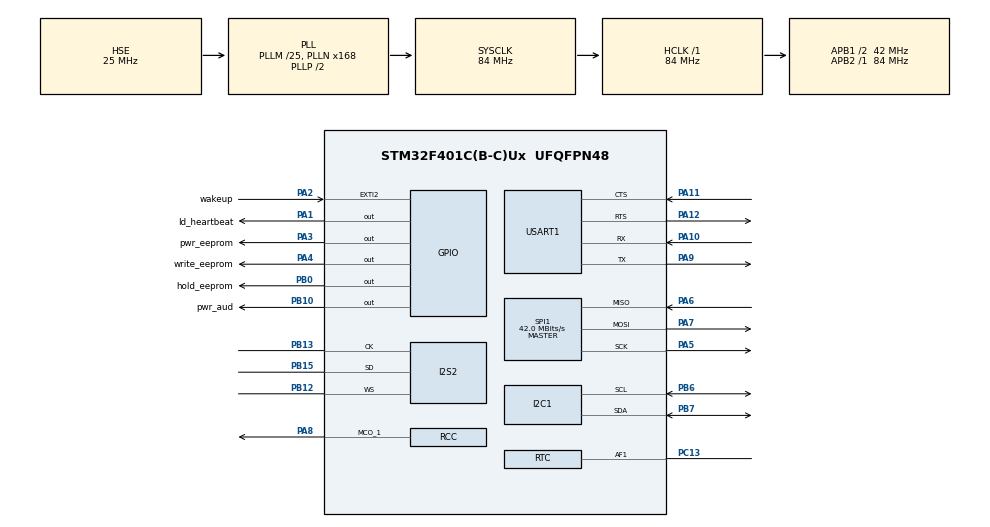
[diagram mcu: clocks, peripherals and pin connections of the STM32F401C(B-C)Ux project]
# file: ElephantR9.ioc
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Dma.Request0=SPI2_TX
Dma.SPI2_TX.0.Direction=DMA_MEMORY_TO_PERIPH
Dma.SPI2_TX.0.FIFOMode=DMA_FIFOMODE_DISABLE
Dma.SPI2_TX.0.Instance=DMA1_Stream4
Dma.SPI2_TX.0.MemDataAlignment=DMA_MDATAALIGN_HALFWORD
Dma.SPI2_TX.0.MemInc=DMA_MINC_ENABLE
Dma.SPI2_TX.0.Mode=DMA_NORMAL
Dma.SPI2_TX.0.PeriphDataAlignment=DMA_PDATAALIGN_HALFWORD
Dma.SPI2_TX.0.PeriphInc=DMA_PINC_DISABLE
Dma.SPI2_TX.0.Priority=DMA_PRIORITY_LOW
I2S2.AudioFreq=I2S_AUDIOFREQ_96K
I2S2.DataFormat=I2S_DATAFORMAT_32B
I2S2.ErrorAudioFreq=-2.34 %
I2S2.FullDuplexMode=I2S_FULLDUPLEXMODE_DISABLE
I2S2.Instance=SPI$Index
I2S2.RealAudioFreq=93.75 KHz
I2S2.Standard=I2S_STANDARD_MSB
I2S2.VirtualMode=I2S_MODE_MASTER
Mcu.Family=STM32F4
Mcu.Name=STM32F401C(B-C)Ux
Mcu.Package=UFQFPN48
NVIC.DMA1_Stream4_IRQn=true\:0\:0\:false\:false\:true\:false\:true\:true
NVIC.EXTI2_IRQn=true\:0\:0\:false\:false\:true\:true\:true\:true
NVIC.PriorityGroup=NVIC_PRIORITYGROUP_4
PA0-WKUP.GPIO_Label=sw_tilt
PA0-WKUP.Mode=SYS_WakeUp0
PA0-WKUP.Signal=SYS_WKUP
PA1.GPIO_Label=ld_heartbeat
PA1.Signal=GPIO_Output
PA10.Mode=Asynchronous
PA10.Signal=USART1_RX
PA11.Mode=CTS_RTS
PA11.Signal=USART1_CTS
PA12.Mode=CTS_RTS
PA12.Signal=USART1_RTS
PA13.Mode=JTAG_5_pins
PA13.Signal=SYS_JTMS-SWDIO
PA14.Mode=JTAG_5_pins
PA14.Signal=SYS_JTCK-SWCLK
PA15.Mode=JTAG_5_pins
PA15.Signal=SYS_JTDI
PA2.GPIO_Label=wakeup
PA2.GPIO_ModeDefaultEXTI=GPIO_MODE_IT_FALLING
PA2.GPIO_PuPd=GPIO_PULLUP
PA2.Signal=GPXTI2
PA3.GPIO_Label=pwr_eeprom
PA3.Signal=GPIO_Output
PA4.GPIO_Label=write_eeprom
PA4.Signal=GPIO_Output
PA5.Mode=Full_Duplex_Master
PA5.Signal=SPI1_SCK
PA6.Mode=Full_Duplex_Master
PA6.Signal=SPI1_MISO
PA7.Mode=Full_Duplex_Master
PA7.Signal=SPI1_MOSI
PA8.Mode=Clock-out-1
PA8.Signal=RCC_MCO_1
PA9.Mode=Asynchronous
PA9.Signal=USART1_TX
PB0.GPIO_Label=hold_eeprom
PB0.Signal=GPIO_Output
PB10.GPIO_Label=pwr_aud
PB10.Signal=GPIO_Output
PB12.Mode=Half_Duplex_Master
PB12.Signal=I2S2_WS
PB13.Mode=Half_Duplex_Master
PB13.Signal=I2S2_CK
PB15.Mode=Half_Duplex_Master
PB15.Signal=I2S2_SD
PB3.Mode=JTAG_5_pins
PB3.Signal=SYS_JTDO-SWO
PB4.Mode=JTAG_5_pins
PB4.Signal=SYS_JTRST
PB6.Mode=I2C
PB6.Signal=I2C1_SCL
PB7.Mode=I2C
PB7.Signal=I2C1_SDA
PC13-ANTI_TAMP.Mode=AlarmA_RoutedAF
PC13-ANTI_TAMP.Signal=RTC_AF1
PC14-OSC32_IN.Mode=LSE-External-Oscillator
PC14-OSC32_IN.Signal=RCC_OSC32_IN
PC15-OSC32_OUT.Mode=LSE-External-Oscillator
PC15-OSC32_OUT.Signal=RCC_OSC32_OUT
PH0\ -\ OSC_IN.Mode=HSE-External-Oscillator
PH0\ -\ OSC_IN.Signal=RCC_OSC_IN
PH1\ -\ OSC_OUT.Mode=HSE-External-Oscillator
PH1\ -\ OSC_OUT.Signal=RCC_OSC_OUT
ProjectManager.HeapSize=0x200
ProjectManager.StackSize=0x400
ProjectManager.TargetToolchain=Makefile
RCC.48MHZClocksFreq_Value=42000000
RCC.AHBFreq_Value=84000000
RCC.APB1CLKDivider=RCC_HCLK_DIV2
RCC.APB1Freq_Value=42000000
RCC.APB1TimFreq_Value=84000000
RCC.APB2Freq_Value=84000000
RCC.APB2TimFreq_Value=84000000
RCC.CortexFreq_Value=84000000
RCC.HCLKFreq_Value=84000000
RCC.HSE_VALUE=25000000
RCC.HSI_VALUE=16000000
RCC.PLLI2SR=4
RCC.PLLM=25
RCC.PLLN=168
RCC.PLLSourceVirtual=RCC_PLLSOURCE_HSE
RCC.SYSCLKFreq_VALUE=84000000
RCC.SYSCLKSource=RCC_SYSCLKSOURCE_PLLCLK
RCC.VCOOutputFreq_Value=168000000
RTC.Alarm=RTC_ALARM_A
RTC.AlarmMaskDateWeekDay=RTC_ALARMMASK_DATEWEEKDAY
RTC.AlarmMaskHours=RTC_ALARMMASK_HOURS
RTC.AlarmMaskMinutes=RTC_ALARMMASK_MINUTES
RTC.Format=RTC_FORMAT_BCD
RTC.OutPutPolarity=RTC_OUTPUT_POLARITY_LOW
RTC.OutPutType=RTC_OUTPUT_TYPE_PUSHPULL
RTC.Seconds_A=10
SPI1.BaudRatePrescaler=SPI_BAUDRATEPRESCALER_2
SPI1.CalculateBaudRate=42.0 MBits/s
SPI1.Direction=SPI_DIRECTION_2LINES
SPI1.Mode=SPI_MODE_MASTER
SPI1.VirtualNSS=VM_NSSHARD
SPI1.VirtualType=VM_MASTER
USART1.VirtualMode=VM_ASYNC
VP_RTC_VS_RTC_Activate.Mode=RTC_Enabled
VP_RTC_VS_RTC_Calendar.Mode=RTC_Calendar
board=custom

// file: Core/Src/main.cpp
/* USER CODE BEGIN Header */
/**
  ******************************************************************************
  * @file           : main.c
  * @brief          : Main program body
  ******************************************************************************
  * @attention
  *
  * Copyright (c) 2024 STMicroelectronics.
  * All rights reserved.
  *
  * This software is licensed under terms that can be found in the LICENSE file
  * in the root directory of this software component.
  * If no LICENSE file comes with this software, it is provided AS-IS.
  *
  ******************************************************************************
  */
/* USER CODE END Header */

#include "main.h"

/* USER CODE BEGIN Includes */
#include "audio_test.h"
#include "sleep_test.h"
#include "reset_test.h"
/* USER CODE END Includes */

/* USER CODE BEGIN PD */
const int n_interrupts = 2;

const int spi_txcplt_irqn = 0;
const int alarm_wakeup_irqn = 1;
const int gpio_wakeup_irqn = 1;
/* USER CODE END PD */

I2C_HandleTypeDef hi2c1;

I2S_HandleTypeDef hi2s2;
DMA_HandleTypeDef hdma_spi2_tx;

RTC_HandleTypeDef hrtc;

SPI_HandleTypeDef hspi1;

UART_HandleTypeDef huart1;

/* USER CODE BEGIN PV */

i2sObject i2sObj(hi2s2);
rtcObject rtcObj(hrtc);
gpioObject gpioObj(GPIOA);

InterruptHandler* Handlers[n_interrupts];

resetCause latestResetCause;

/* USER CODE END PV */

void SystemClock_Config(void);
static void MX_GPIO_Init(void);
static void MX_DMA_Init(void);
static void MX_I2C1_Init(void);
static void MX_I2S2_Init(void);
static void MX_SPI1_Init(void);
static void MX_USART1_UART_Init(void);
static void MX_RTC_Init(void);
void register_handler(int irq_n, InterruptHandler* handler);

int main(void)
{

  /* MCU Configuration--------------------------------------------------------*/

  /* Reset of all peripherals, Initializes the Flash interface and the Systick. */
  HAL_Init();

  /* Configure the system clock */
  SystemClock_Config();

  /* Initialize all configured peripherals */
  MX_GPIO_Init();
  MX_DMA_Init();
  MX_I2C1_Init();
  MX_I2S2_Init();
  MX_SPI1_Init();
  MX_USART1_UART_Init();
  MX_RTC_Init();
  /* USER CODE BEGIN 2 */
  //register_handler(spi_txcplt_irqn, &i2sObj);
  //audio_test::runTest(hi2c1, hdma_spi2_tx, i2sObj);
  //sleep_test::runTest(hrtc);
  //reset_test::runTest(rtcObj,gpioObj);
  /* USER CODE END 2 */

  /* Infinite loop */
  /* USER CODE BEGIN WHILE */
  while (1)
  {
    gpioObj.setPin(8);
    gpioObj.resetPin(8);
    /* USER CODE END WHILE */
  }
}

void SystemClock_Config(void)
{
  RCC_OscInitTypeDef RCC_OscInitStruct = {0};
  RCC_ClkInitTypeDef RCC_ClkInitStruct = {0};

  /** Configure the main internal regulator output voltage
  */
  __HAL_RCC_PWR_CLK_ENABLE();
  __HAL_PWR_VOLTAGESCALING_CONFIG(PWR_REGULATOR_VOLTAGE_SCALE2);

  /** Initializes the RCC Oscillators according to the specified parameters
  * in the RCC_OscInitTypeDef structure.
  */
  RCC_OscInitStruct.OscillatorType = RCC_OSCILLATORTYPE_HSI|RCC_OSCILLATORTYPE_LSI
                              |RCC_OSCILLATORTYPE_HSE;
  RCC_OscInitStruct.HSEState = RCC_HSE_ON;
  RCC_OscInitStruct.HSIState = RCC_HSI_ON;
  RCC_OscInitStruct.HSICalibrationValue = RCC_HSICALIBRATION_DEFAULT;
  RCC_OscInitStruct.LSIState = RCC_LSI_ON;
  RCC_OscInitStruct.PLL.PLLState = RCC_PLL_ON;
  RCC_OscInitStruct.PLL.PLLSource = RCC_PLLSOURCE_HSE;
  RCC_OscInitStruct.PLL.PLLM = 25;
  RCC_OscInitStruct.PLL.PLLN = 168;
  RCC_OscInitStruct.PLL.PLLP = RCC_PLLP_DIV2;
  RCC_OscInitStruct.PLL.PLLQ = 4;
  if (HAL_RCC_OscConfig(&RCC_OscInitStruct) != HAL_OK)
  {
    Error_Handler();
  }

  /** Initializes the CPU, AHB and APB buses clocks
  */
  RCC_ClkInitStruct.ClockType = RCC_CLOCKTYPE_HCLK|RCC_CLOCKTYPE_SYSCLK
                              |RCC_CLOCKTYPE_PCLK1|RCC_CLOCKTYPE_PCLK2;
  RCC_ClkInitStruct.SYSCLKSource = RCC_SYSCLKSOURCE_PLLCLK;
  RCC_ClkInitStruct.AHBCLKDivider = RCC_SYSCLK_DIV1;
  RCC_ClkInitStruct.APB1CLKDivider = RCC_HCLK_DIV2;
  RCC_ClkInitStruct.APB2CLKDivider = RCC_HCLK_DIV1;

  if (HAL_RCC_ClockConfig(&RCC_ClkInitStruct, FLASH_LATENCY_2) != HAL_OK)
  {
    Error_Handler();
  }
  HAL_RCC_MCOConfig(RCC_MCO1, RCC_MCO1SOURCE_HSI, RCC_MCODIV_1);
}

static void MX_I2C1_Init(void)
{

  hi2c1.Instance = I2C1;
  hi2c1.Init.ClockSpeed = 100000;
  hi2c1.Init.DutyCycle = I2C_DUTYCYCLE_2;
  hi2c1.Init.OwnAddress1 = 0;
  hi2c1.Init.AddressingMode = I2C_ADDRESSINGMODE_7BIT;
  hi2c1.Init.DualAddressMode = I2C_DUALADDRESS_DISABLE;
  hi2c1.Init.OwnAddress2 = 0;
  hi2c1.Init.GeneralCallMode = I2C_GENERALCALL_DISABLE;
  hi2c1.Init.NoStretchMode = I2C_NOSTRETCH_DISABLE;
  if (HAL_I2C_Init(&hi2c1) != HAL_OK)
  {
    Error_Handler();
  }

}

static void MX_I2S2_Init(void)
{

  hi2s2.Instance = SPI2;
  hi2s2.Init.Mode = I2S_MODE_MASTER_TX;
  hi2s2.Init.Standard = I2S_STANDARD_MSB;
  hi2s2.Init.DataFormat = I2S_DATAFORMAT_32B;
  hi2s2.Init.MCLKOutput = I2S_MCLKOUTPUT_DISABLE;
  hi2s2.Init.AudioFreq = I2S_AUDIOFREQ_96K;
  hi2s2.Init.CPOL = I2S_CPOL_LOW;
  hi2s2.Init.ClockSource = I2S_CLOCK_PLL;
  hi2s2.Init.FullDuplexMode = I2S_FULLDUPLEXMODE_DISABLE;
  if (HAL_I2S_Init(&hi2s2) != HAL_OK)
  {
    Error_Handler();
  }

}

static void MX_RTC_Init(void)
{

  /* USER CODE BEGIN RTC_Init 0 */
  uint32_t backupMagic;
  /* USER CODE END RTC_Init 0 */

  RTC_TimeTypeDef sTime = {0};
  RTC_DateTypeDef sDate = {0};
  RTC_AlarmTypeDef sAlarm = {0};

  /** Initialize RTC Only
  */
  hrtc.Instance = RTC;
  hrtc.Init.HourFormat = RTC_HOURFORMAT_24;
  hrtc.Init.AsynchPrediv = 127;
  hrtc.Init.SynchPrediv = 255;
  hrtc.Init.OutPut = RTC_OUTPUT_ALARMA;
  hrtc.Init.OutPutPolarity = RTC_OUTPUT_POLARITY_LOW;
  hrtc.Init.OutPutType = RTC_OUTPUT_TYPE_PUSHPULL;
  if (HAL_RTC_Init(&hrtc) != HAL_OK)
  {
    Error_Handler();
  }

  /* USER CODE BEGIN Check_RTC_BKUP */

    // Retrieve the RTC magic number stored in the last RTC backup register.
  // RTC magic number: corresponds to UNIX seconds timestamp.
  backupMagic = HAL_RTCEx_BKUPRead(&hrtc, RTC_BKP_DR10);

  // If the backup magic number is the same as the predefined magic number,
  // then don't do anything to the RTC time or alarms (End RTC Initialization).
  if (backupMagic == RTC_MAGIC) {
    return;
  }

  /* USER CODE END Check_RTC_BKUP */

  /** Initialize RTC and set the Time and Date
  */
  sTime.Hours = RTC_HOUR;
  sTime.Minutes = RTC_MINUTE;
  sTime.Seconds = RTC_SECOND;
  sTime.DayLightSaving = RTC_DAYLIGHTSAVING_NONE;
  sTime.StoreOperation = RTC_STOREOPERATION_RESET;
  if (HAL_RTC_SetTime(&hrtc, &sTime, RTC_FORMAT_BCD) != HAL_OK)
  {
    Error_Handler();
  }
  sDate.WeekDay = RTC_WEEKDAY;
  sDate.Month = RTC_MONTH;
  sDate.Date = RTC_DAY;
  sDate.Year = RTC_YEAR;

  if (HAL_RTC_SetDate(&hrtc, &sDate, RTC_FORMAT_BCD) != HAL_OK)
  {
    Error_Handler();
  }

  /** Enable the Alarm A
  */
  sAlarm.AlarmTime.Hours = 0x0;
  sAlarm.AlarmTime.Minutes = 0x0;
  sAlarm.AlarmTime.Seconds = 0x10;
  sAlarm.AlarmTime.SubSeconds = 0x0;
  sAlarm.AlarmTime.DayLightSaving = RTC_DAYLIGHTSAVING_NONE;
  sAlarm.AlarmTime.StoreOperation = RTC_STOREOPERATION_RESET;
  sAlarm.AlarmMask = RTC_ALARMMASK_DATEWEEKDAY|RTC_ALARMMASK_HOURS
                              |RTC_ALARMMASK_MINUTES;
  sAlarm.AlarmSubSecondMask = RTC_ALARMSUBSECONDMASK_ALL;
  sAlarm.AlarmDateWeekDaySel = RTC_ALARMDATEWEEKDAYSEL_DATE;
  sAlarm.AlarmDateWeekDay = 0x1;
  sAlarm.Alarm = RTC_ALARM_A;
  if (HAL_RTC_SetAlarm_IT(&hrtc, &sAlarm, RTC_FORMAT_BCD) != HAL_OK)
  {
    Error_Handler();
  }
  /* USER CODE BEGIN RTC_Init 2 */

  //write the predefined magic number to the backup register and
  // set the RTC time to the predefined time values.
  HAL_PWR_EnableBkUpAccess();
  HAL_Delay(10);
  HAL_RTCEx_BKUPWrite(&hrtc, RTC_BKP_DR10, RTC_MAGIC);
  HAL_PWR_DisableBkUpAccess();

  /* USER CODE END RTC_Init 2 */

}

static void MX_SPI1_Init(void)
{

  /* SPI1 parameter configuration*/
  hspi1.Instance = SPI1;
  hspi1.Init.Mode = SPI_MODE_MASTER;
  hspi1.Init.Direction = SPI_DIRECTION_2LINES;
  hspi1.Init.DataSize = SPI_DATASIZE_8BIT;
  hspi1.Init.CLKPolarity = SPI_POLARITY_LOW;
  hspi1.Init.CLKPhase = SPI_PHASE_1EDGE;
  hspi1.Init.NSS = SPI_NSS_SOFT;
  hspi1.Init.BaudRatePrescaler = SPI_BAUDRATEPRESCALER_2;
  hspi1.Init.FirstBit = SPI_FIRSTBIT_MSB;
  hspi1.Init.TIMode = SPI_TIMODE_DISABLE;
  hspi1.Init.CRCCalculation = SPI_CRCCALCULATION_DISABLE;
  hspi1.Init.CRCPolynomial = 10;
  if (HAL_SPI_Init(&hspi1) != HAL_OK)
  {
    Error_Handler();
  }

}

static void MX_USART1_UART_Init(void)
{

  huart1.Instance = USART1;
  huart1.Init.BaudRate = 115200;
  huart1.Init.WordLength = UART_WORDLENGTH_8B;
  huart1.Init.StopBits = UART_STOPBITS_1;
  huart1.Init.Parity = UART_PARITY_NONE;
  huart1.Init.Mode = UART_MODE_TX_RX;
  huart1.Init.HwFlowCtl = UART_HWCONTROL_RTS_CTS;
  huart1.Init.OverSampling = UART_OVERSAMPLING_16;
  if (HAL_UART_Init(&huart1) != HAL_OK)
  {
    Error_Handler();
  }

}

static void MX_DMA_Init(void)
{

  /* DMA controller clock enable */
  __HAL_RCC_DMA1_CLK_ENABLE();

  /* DMA interrupt init */
  /* DMA1_Stream4_IRQn interrupt configuration */
  HAL_NVIC_SetPriority(DMA1_Stream4_IRQn, 0, 0);
  HAL_NVIC_EnableIRQ(DMA1_Stream4_IRQn);

}

static void MX_GPIO_Init(void)
{
  GPIO_InitTypeDef GPIO_InitStruct = {0};

  /* GPIO Ports Clock Enable */
  __HAL_RCC_GPIOC_CLK_ENABLE();
  __HAL_RCC_GPIOH_CLK_ENABLE();
  __HAL_RCC_GPIOA_CLK_ENABLE();
  __HAL_RCC_GPIOB_CLK_ENABLE();

  /*Configure GPIO pin Output Level */
  HAL_GPIO_WritePin(GPIOA, ld_heartbeat_Pin|pwr_eeprom_Pin|write_eeprom_Pin, GPIO_PIN_RESET);

  /*Configure GPIO pin Output Level */
  HAL_GPIO_WritePin(GPIOB, hold_eeprom_Pin|pwr_aud_Pin, GPIO_PIN_RESET);

  /*Configure GPIO pins : ld_heartbeat_Pin pwr_eeprom_Pin write_eeprom_Pin */
  GPIO_InitStruct.Pin = ld_heartbeat_Pin|pwr_eeprom_Pin|write_eeprom_Pin;
  GPIO_InitStruct.Mode = GPIO_MODE_OUTPUT_PP;
  GPIO_InitStruct.Pull = GPIO_NOPULL;
  GPIO_InitStruct.Speed = GPIO_SPEED_FREQ_LOW;
  HAL_GPIO_Init(GPIOA, &GPIO_InitStruct);

  /*Configure GPIO pin : wakeup_Pin */
  GPIO_InitStruct.Pin = wakeup_Pin;
  GPIO_InitStruct.Mode = GPIO_MODE_IT_FALLING;
  GPIO_InitStruct.Pull = GPIO_PULLDOWN;
  HAL_GPIO_Init(wakeup_GPIO_Port, &GPIO_InitStruct);

  /*Configure GPIO pins : hold_eeprom_Pin pwr_aud_Pin */
  GPIO_InitStruct.Pin = hold_eeprom_Pin|pwr_aud_Pin;
  GPIO_InitStruct.Mode = GPIO_MODE_OUTPUT_PP;
  GPIO_InitStruct.Pull = GPIO_NOPULL;
  GPIO_InitStruct.Speed = GPIO_SPEED_FREQ_LOW;
  HAL_GPIO_Init(GPIOB, &GPIO_InitStruct);

  /*Configure GPIO pin : PA8 */
  GPIO_InitStruct.Pin = GPIO_PIN_8;
  GPIO_InitStruct.Mode = GPIO_MODE_AF_PP;
  GPIO_InitStruct.Pull = GPIO_NOPULL;
  GPIO_InitStruct.Speed = GPIO_SPEED_FREQ_LOW;
  GPIO_InitStruct.Alternate = GPIO_AF0_MCO;
  HAL_GPIO_Init(GPIOA, &GPIO_InitStruct);

  /* EXTI interrupt init*/
  HAL_NVIC_SetPriority(EXTI2_IRQn, 0, 0);
  HAL_NVIC_EnableIRQ(EXTI2_IRQn);

}

/* USER CODE BEGIN 4 */

extern "C" void HAL_I2S_TxCpltCallback(I2S_HandleTypeDef *hi2s) {
  Handlers[spi_txcplt_irqn]->irq();
}

extern "C" void HAL_GPIO_EXTI_Callback(uint16_t GPIO_Pin) {
}

void register_handler(int irq_n, InterruptHandler* handler) {
    Handlers[irq_n] = handler;
}

/* USER CODE END 4 */

void Error_Handler(void)
{
  __disable_irq();
  while (1)
  {
  }
}
